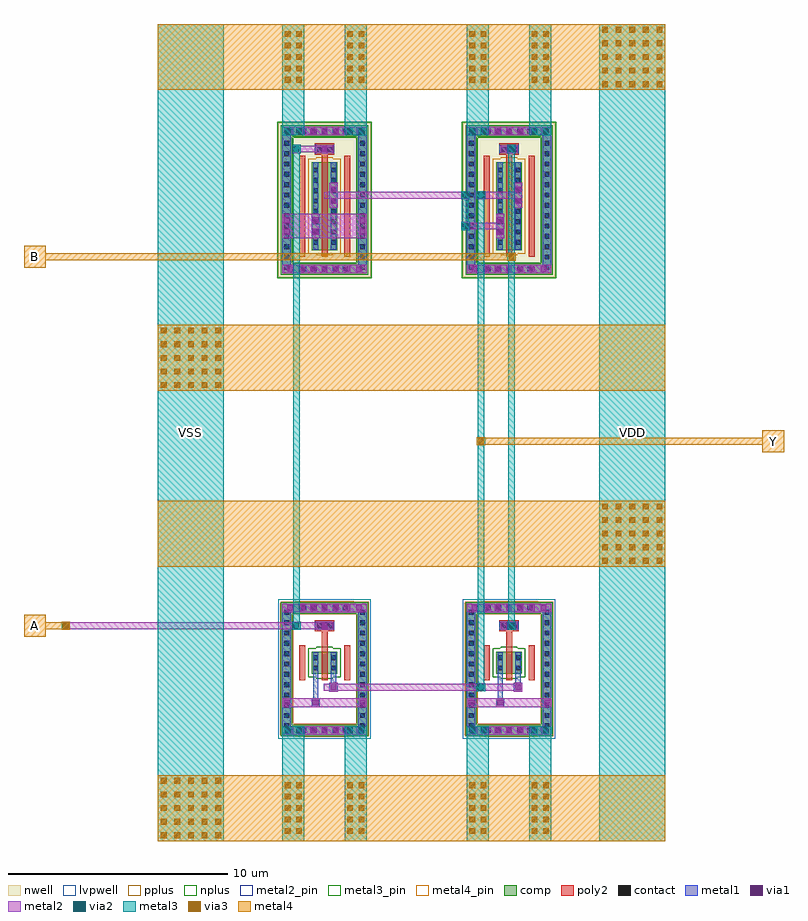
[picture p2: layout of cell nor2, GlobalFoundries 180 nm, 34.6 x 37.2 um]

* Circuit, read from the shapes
.subckt nor2 A B VDD VSS Y
XM1 Y A VSS VSS nfet_03v3 w=1u l=0.28u
XM2 Y B VSS VSS nfet_03v3 w=1u l=0.28u
XM3 nor2_MP1_2/n1 A VDD VDD pfet_03v3 w=4u l=0.28u
XM4 Y B nor2_MP1_2/n1 VDD pfet_03v3 w=4u l=0.28u
.ends

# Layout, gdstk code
import gdstk
lib = gdstk.Library(unit=1e-6, precision=1e-09)
def R(c, l, rs):  # rectangles x0, y0, x1, y1
    for r in rs: c.add(gdstk.rectangle(r[:2], r[2:], *l))
def A(c, l, x, y, w, h, nx, ny, dx, dy):  # array of equal rectangles
    R(c, l, [(x+i*dx, y+j*dy, x+i*dx+w, y+j*dy+h) for i in range(nx) for j in range(ny)])
nwell = (21, 0)
comp = (22, 0)
poly2 = (30, 0)
pplus = (31, 0)
nplus = (32, 0)
contact = (33, 0)
metal1 = (34, 0)
via1 = (35, 0)
metal2 = (36, 0)
metal2_pin = (36, 10)
via2 = (38, 0)
via3 = (40, 0)
metal3 = (42, 0)
metal3_pin = (42, 10)
metal4 = (46, 0)
metal4_pin = (46, 10)
lvpwell = (204, 0)

nor2_mn1 = lib.new_cell('nor2_MN1')
R(nor2_mn1, comp, [(-1.4,-0.82,2.57,-0.3), (-1.4,-0.3,-0.88,4.755), (2.05,-0.3,2.57,4.755), (0,2.01,1.17,3.01), (-1.4,4.755,2.57,5.275)])
R(nor2_mn1, poly2, [(-0.58,1.71,-0.3,3.31), (0.445,1.71,0.725,3.945), (1.47,1.71,1.75,3.31), (0.135,3.945,1.035,4.455)])
R(nor2_mn1, pplus, [(-0.74,-0.85,1.91,-0.84), (-1.42,-0.84,2.59,-0.795), (-1.43,-0.795,2.6,-0.27), (-1.43,-0.27,-0.85,4.725), (2.02,-0.27,2.6,4.725), (-1.43,4.725,2.6,5.25), (-1.42,5.25,2.59,5.295), (-0.74,5.295,1.91,5.305)])
R(nor2_mn1, nplus, [(0.215,1.78,0.955,1.85), (-0.16,1.85,1.33,3.17), (0.215,3.17,0.955,3.24)])
A(nor2_mn1, contact, -0.465, -0.67, 0.22, 0.22, 5, 2, 0.47, 5.575)
A(nor2_mn1, contact, -1.25, -0.47, 0.22, 0.22, 1, 12, 0, 0.47)
A(nor2_mn1, contact, 2.2, -0.47, 0.22, 0.22, 1, 12, 0, 0.47)
R(nor2_mn1, contact, [(0.07,2.165,0.29,2.385), (0.88,2.165,1.1,2.385), (0.07,2.635,0.29,2.855), (0.88,2.635,1.1,2.855), (0.24,4.09,0.46,4.31), (0.71,4.09,0.93,4.31)])
R(nor2_mn1, metal1, [(-1.335,-0.755,2.505,-0.365), (-1.335,-0.365,-0.945,4.82), (2.115,-0.365,2.505,4.82), (-0.01,0.49,0.37,0.91), (0.065,0.91,0.295,3), (0.8,1.19,1.18,1.61), (0.875,1.61,1.105,3), (0.145,4.01,1.025,4.39), (-1.335,4.82,2.505,5.21)])
A(nor2_mn1, via1, -1.105, -0.69, 0.26, 0.26, 7, 2, 0.52, 5.575)
R(nor2_mn1, via1, [(-1.27,0.57,-1.01,0.83), (0.05,0.57,0.31,0.83), (2.18,0.57,2.44,0.83), (0.86,1.27,1.12,1.53), (0.455,4.07,0.715,4.33)])
R(nor2_mn1, metal2, [(-1.335,-0.755,2.505,-0.365), (-1.335,0.49,2.505,0.91), (0.8,1.19,1.18,1.61), (0.2,4.01,0.97,4.39), (-1.335,4.82,2.505,5.21)])
R(nor2_mn1, metal2_pin, [(-1.335,-0.755,2.505,-0.365), (0.8,1.19,1.18,1.61), (0.2,4.01,0.97,4.39)])
R(nor2_mn1, lvpwell, [(-1.52,-0.94,2.69,5.395)])
nor2_mn1.add(gdstk.Label('Y', (0.99,1.4), layer=36, texttype=10))
nor2_mn1.add(gdstk.Label('A', (0.585,4.2), layer=36, texttype=10))
nor2_mn1.add(gdstk.Label('VSS', (0.585,-0.56), layer=36, texttype=10))

nor2_mn2 = lib.new_cell('nor2_MN2')
R(nor2_mn2, comp, [(-1.4,-0.82,2.57,-0.3), (-1.4,-0.3,-0.88,4.755), (2.05,-0.3,2.57,4.755), (0,2.01,1.17,3.01), (-1.4,4.755,2.57,5.275)])
R(nor2_mn2, poly2, [(-0.58,1.71,-0.3,3.31), (0.445,1.71,0.725,3.945), (1.47,1.71,1.75,3.31), (0.135,3.945,1.035,4.455)])
R(nor2_mn2, pplus, [(-0.74,-0.85,1.91,-0.84), (-1.42,-0.84,2.59,-0.795), (-1.43,-0.795,2.6,-0.27), (-1.43,-0.27,-0.85,4.725), (2.02,-0.27,2.6,4.725), (-1.43,4.725,2.6,5.25), (-1.42,5.25,2.59,5.295), (-0.74,5.295,1.91,5.305)])
R(nor2_mn2, nplus, [(0.215,1.78,0.955,1.85), (-0.16,1.85,1.33,3.17), (0.215,3.17,0.955,3.24)])
A(nor2_mn2, contact, -0.465, -0.67, 0.22, 0.22, 5, 2, 0.47, 5.575)
A(nor2_mn2, contact, -1.25, -0.47, 0.22, 0.22, 1, 12, 0, 0.47)
A(nor2_mn2, contact, 2.2, -0.47, 0.22, 0.22, 1, 12, 0, 0.47)
R(nor2_mn2, contact, [(0.07,2.165,0.29,2.385), (0.88,2.165,1.1,2.385), (0.07,2.635,0.29,2.855), (0.88,2.635,1.1,2.855), (0.24,4.09,0.46,4.31), (0.71,4.09,0.93,4.31)])
R(nor2_mn2, metal1, [(-1.335,-0.755,2.505,-0.365), (-1.335,-0.365,-0.945,4.82), (2.115,-0.365,2.505,4.82), (-0.01,0.49,0.37,0.91), (0.065,0.91,0.295,3), (0.8,1.19,1.18,1.61), (0.875,1.61,1.105,3), (0.145,4.01,1.025,4.39), (-1.335,4.82,2.505,5.21)])
A(nor2_mn2, via1, -1.105, -0.69, 0.26, 0.26, 7, 2, 0.52, 5.575)
R(nor2_mn2, via1, [(-1.27,0.57,-1.01,0.83), (0.05,0.57,0.31,0.83), (2.18,0.57,2.44,0.83), (0.86,1.27,1.12,1.53), (0.455,4.07,0.715,4.33)])
R(nor2_mn2, metal2, [(-1.335,-0.755,2.505,-0.365), (-1.335,0.49,2.505,0.91), (0.8,1.19,1.18,1.61), (0.2,4.01,0.97,4.39), (-1.335,4.82,2.505,5.21)])
R(nor2_mn2, metal2_pin, [(-1.335,-0.755,2.505,-0.365), (0.8,1.19,1.18,1.61), (0.2,4.01,0.97,4.39)])
R(nor2_mn2, lvpwell, [(-1.52,-0.94,2.69,5.395)])
nor2_mn2.add(gdstk.Label('Y', (0.99,1.4), layer=36, texttype=10))
nor2_mn2.add(gdstk.Label('B', (0.585,4.2), layer=36, texttype=10))
nor2_mn2.add(gdstk.Label('VSS', (0.585,-0.56), layer=36, texttype=10))

nor2_mp1 = lib.new_cell('nor2_MP1')
R(nor2_mp1, nwell, [(-1.52,-0.94,2.69,6.095)])
R(nor2_mp1, comp, [(-1.4,-0.82,2.57,-0.3), (-1.4,-0.3,-0.88,5.455), (2.05,-0.3,2.57,5.455), (0,0.3,1.17,4.3), (-1.4,5.455,2.57,5.975)])
R(nor2_mp1, poly2, [(-0.58,0,-0.3,4.6), (0.445,0,0.725,4.645), (1.47,0,1.75,4.6), (0.135,4.645,1.035,5.155)])
R(nor2_mp1, pplus, [(0.215,0.07,0.955,0.14), (-0.16,0.14,1.33,4.46), (0.215,4.46,0.955,4.53)])
R(nor2_mp1, nplus, [(-1.56,-0.98,2.73,-0.27), (-1.56,-0.27,-0.85,5.425), (2.02,-0.27,2.73,5.425), (-1.56,5.425,2.73,6.135)])
A(nor2_mp1, contact, -0.465, -0.67, 0.22, 0.22, 5, 2, 0.47, 6.275)
A(nor2_mp1, contact, -1.25, -0.59, 0.22, 0.22, 1, 14, 0, 0.47)
A(nor2_mp1, contact, 2.2, -0.59, 0.22, 0.22, 1, 14, 0, 0.47)
A(nor2_mp1, contact, 0.07, 0.545, 0.22, 0.22, 1, 8, 0, 0.47)
A(nor2_mp1, contact, 0.88, 0.545, 0.22, 0.22, 1, 8, 0, 0.47)
R(nor2_mp1, contact, [(0.24,4.79,0.46,5.01), (0.71,4.79,0.93,5.01)])
R(nor2_mp1, metal1, [(-1.335,-0.755,2.505,-0.365), (-1.335,-0.365,-0.945,5.52), (2.115,-0.365,2.505,5.52), (0.065,0.31,0.295,0.84), (0.875,0.31,1.105,2.24), (-0.01,0.84,0.37,1.96), (0.065,1.96,0.295,4.29), (0.8,2.24,1.18,3.36), (0.875,3.36,1.105,4.29), (0.145,4.71,1.025,5.09), (-1.335,5.52,2.505,5.91)])
A(nor2_mp1, via1, -1.105, -0.69, 0.26, 0.26, 7, 2, 0.52, 6.275)
R(nor2_mp1, via1, [(-1.27,1.01,-1.01,1.27), (0.05,1.01,0.31,1.27), (2.18,1.01,2.44,1.27), (-1.27,1.53,-1.01,1.79), (0.05,1.53,0.31,1.79), (2.18,1.53,2.44,1.79), (0.86,2.41,1.12,2.67), (0.86,2.93,1.12,3.19), (0.455,4.77,0.715,5.03)])
R(nor2_mp1, metal2, [(-1.335,-0.755,2.505,-0.365), (-1.335,0.84,2.505,1.96), (0.8,2.24,1.18,3.36), (0.2,4.71,0.97,5.09), (-1.335,5.52,2.505,5.91)])
R(nor2_mp1, metal2_pin, [(-1.335,-0.755,2.505,-0.365), (0.8,2.24,1.18,3.36), (0.2,4.71,0.97,5.09)])
nor2_mp1.add(gdstk.Label('n1', (0.99,2.8), layer=36, texttype=10))
nor2_mp1.add(gdstk.Label('A', (0.585,4.9), layer=36, texttype=10))
nor2_mp1.add(gdstk.Label('VDD', (0.585,-0.56), layer=36, texttype=10))

nor2_mp2 = lib.new_cell('nor2_MP2')
R(nor2_mp2, nwell, [(-1.52,-0.94,2.69,6.095)])
R(nor2_mp2, comp, [(-1.4,-0.82,2.57,-0.3), (-1.4,-0.3,-0.88,5.455), (2.05,-0.3,2.57,5.455), (0,0.3,1.17,4.3), (-1.4,5.455,2.57,5.975)])
R(nor2_mp2, poly2, [(-0.58,0,-0.3,4.6), (0.445,0,0.725,4.645), (1.47,0,1.75,4.6), (0.135,4.645,1.035,5.155)])
R(nor2_mp2, pplus, [(0.215,0.07,0.955,0.14), (-0.16,0.14,1.33,4.46), (0.215,4.46,0.955,4.53)])
R(nor2_mp2, nplus, [(-1.56,-0.98,2.73,-0.27), (-1.56,-0.27,-0.85,5.425), (2.02,-0.27,2.73,5.425), (-1.56,5.425,2.73,6.135)])
A(nor2_mp2, contact, -0.465, -0.67, 0.22, 0.22, 5, 2, 0.47, 6.275)
A(nor2_mp2, contact, -1.25, -0.59, 0.22, 0.22, 1, 14, 0, 0.47)
A(nor2_mp2, contact, 2.2, -0.59, 0.22, 0.22, 1, 14, 0, 0.47)
A(nor2_mp2, contact, 0.07, 0.545, 0.22, 0.22, 1, 8, 0, 0.47)
A(nor2_mp2, contact, 0.88, 0.545, 0.22, 0.22, 1, 8, 0, 0.47)
R(nor2_mp2, contact, [(0.24,4.79,0.46,5.01), (0.71,4.79,0.93,5.01)])
R(nor2_mp2, metal1, [(-1.335,-0.755,2.505,-0.365), (-1.335,-0.365,-0.945,5.52), (2.115,-0.365,2.505,5.52), (0.065,0.31,0.295,0.84), (0.875,0.31,1.105,2.24), (-0.01,0.84,0.37,1.96), (0.065,1.96,0.295,4.29), (0.8,2.24,1.18,3.36), (0.875,3.36,1.105,4.29), (0.145,4.71,1.025,5.09), (-1.335,5.52,2.505,5.91)])
A(nor2_mp2, via1, -1.105, -0.69, 0.26, 0.26, 7, 2, 0.52, 6.275)
R(nor2_mp2, via1, [(0.05,1.01,0.31,1.27), (0.05,1.53,0.31,1.79), (0.86,2.41,1.12,2.67), (0.86,2.93,1.12,3.19), (0.455,4.77,0.715,5.03)])
R(nor2_mp2, metal2, [(-1.335,-0.755,2.505,-0.365), (-0.01,0.84,0.37,1.96), (0.8,2.24,1.18,3.36), (0.2,4.71,0.97,5.09), (-1.335,5.52,2.505,5.91)])
R(nor2_mp2, metal2_pin, [(-1.335,-0.755,2.505,-0.365), (-0.01,0.84,0.37,1.96), (0.8,2.24,1.18,3.36), (0.2,4.71,0.97,5.09)])
nor2_mp2.add(gdstk.Label('n1', (0.18,1.4), layer=36, texttype=10))
nor2_mp2.add(gdstk.Label('Y', (0.99,2.8), layer=36, texttype=10))
nor2_mp2.add(gdstk.Label('B', (0.585,4.9), layer=36, texttype=10))
nor2_mp2.add(gdstk.Label('VDD', (0.585,-0.56), layer=36, texttype=10))

nor2 = lib.new_cell('nor2')
R(nor2, metal2, [(5.665,4.845,6.665,5.235), (8.505,4.845,9.505,5.235), (14.065,4.845,15.065,5.235), (16.905,4.845,17.905,5.235), (14.51,6.81,14.89,6.85), (7.55,6.85,16.25,7.15), (14.51,7.15,14.89,7.19), (-4.39,9.61,-4.01,9.65), (6.11,9.61,6.49,9.65), (15.91,9.61,16.29,9.99), (-4.39,9.65,7.85,9.95), (-4.39,9.95,-4.01,9.99), (6.11,9.95,6.49,9.99), (13.81,27.81,14.19,27.85), (13.81,27.85,15.55,28.15), (13.81,28.15,14.19,28.19), (13.81,29.21,14.19,29.25), (14.51,29.21,14.89,29.25), (7.55,29.25,14.19,29.55), (14.51,29.25,16.25,29.55), (13.81,29.55,14.19,29.59), (14.51,29.55,14.89,29.59), (6.11,31.31,6.49,31.35), (15.91,31.31,16.29,31.69), (6.11,31.35,7.85,31.65), (6.11,31.65,6.49,31.69), (5.665,32.12,6.665,32.51), (8.505,32.12,9.505,32.51), (14.065,32.12,15.065,32.51), (16.905,32.12,17.905,32.51)])
R(nor2, via2, [(5.775,4.91,6.035,5.17), (6.295,4.91,6.555,5.17), (8.615,4.91,8.875,5.17), (9.135,4.91,9.395,5.17), (14.175,4.91,14.435,5.17), (14.695,4.91,14.955,5.17), (17.015,4.91,17.275,5.17), (17.535,4.91,17.795,5.17), (14.57,6.87,14.83,7.13), (-4.33,9.67,-4.07,9.93), (6.17,9.67,6.43,9.93), (15.97,9.67,16.23,9.93), (13.87,27.87,14.13,28.13), (13.87,29.27,14.13,29.53), (14.57,29.27,14.83,29.53), (6.17,31.37,6.43,31.63), (15.97,31.37,16.23,31.63), (5.775,32.185,6.035,32.445), (6.295,32.185,6.555,32.445), (8.615,32.185,8.875,32.445), (9.135,32.185,9.395,32.445), (14.175,32.185,14.435,32.445), (14.695,32.185,14.955,32.445), (17.015,32.185,17.275,32.445), (17.535,32.185,17.795,32.445)])
A(nor2, via3, 0.13, 0.13, 0.26, 0.26, 5, 5, 0.62, 0.62)
A(nor2, via3, 5.775, 0.33, 0.26, 0.26, 1, 5, 0, 0.52)
A(nor2, via3, 6.295, 0.33, 0.26, 0.26, 1, 5, 0, 0.52)
A(nor2, via3, 8.615, 0.33, 0.26, 0.26, 1, 5, 0, 0.52)
A(nor2, via3, 9.135, 0.33, 0.26, 0.26, 1, 5, 0, 0.52)
A(nor2, via3, 14.175, 0.33, 0.26, 0.26, 1, 5, 0, 0.52)
A(nor2, via3, 14.695, 0.33, 0.26, 0.26, 1, 5, 0, 0.52)
A(nor2, via3, 17.015, 0.33, 0.26, 0.26, 1, 5, 0, 0.52)
A(nor2, via3, 17.535, 0.33, 0.26, 0.26, 1, 5, 0, 0.52)
A(nor2, via3, 20.22, 12.625, 0.26, 0.26, 5, 5, 0.62, 0.62)
A(nor2, via3, 0.13, 20.625, 0.26, 0.26, 5, 5, 0.62, 0.62)
A(nor2, via3, 20.22, 34.325, 0.26, 0.26, 5, 5, 0.62, 0.62)
A(nor2, via3, 5.775, 34.525, 0.26, 0.26, 1, 5, 0, 0.52)
A(nor2, via3, 6.295, 34.525, 0.26, 0.26, 1, 5, 0, 0.52)
A(nor2, via3, 8.615, 34.525, 0.26, 0.26, 1, 5, 0, 0.52)
A(nor2, via3, 9.135, 34.525, 0.26, 0.26, 1, 5, 0, 0.52)
A(nor2, via3, 14.175, 34.525, 0.26, 0.26, 1, 5, 0, 0.52)
A(nor2, via3, 14.695, 34.525, 0.26, 0.26, 1, 5, 0, 0.52)
A(nor2, via3, 17.015, 34.525, 0.26, 0.26, 1, 5, 0, 0.52)
A(nor2, via3, 17.535, 34.525, 0.26, 0.26, 1, 5, 0, 0.52)
R(nor2, via3, [(-4.33,9.67,-4.07,9.93), (14.57,18.07,14.83,18.33), (15.97,26.47,16.23,26.73)])
A(nor2, metal3, 14.51, 6.81, 0.38, 0.38, 1, 3, 0, 11.2)
R(nor2, metal3, [(0,0,3,37.195), (5.665,0,6.665,5.235), (8.505,0,9.505,5.235), (14.065,0,15.065,5.235), (16.905,0,17.905,5.235), (20.09,0,23.09,37.195), (14.55,7.19,14.85,18.01), (-4.39,9.61,-4.01,9.99), (6.11,9.61,6.49,9.99), (15.91,9.61,16.29,9.99), (6.15,9.99,6.45,31.31), (15.95,9.99,16.25,26.41), (14.55,18.39,14.85,29.21), (15.91,26.41,16.29,26.79), (15.95,26.79,16.25,31.31), (13.81,27.81,14.19,28.19), (13.85,28.19,14.15,29.21), (13.81,29.21,14.19,29.59), (6.11,31.31,6.49,31.69), (15.91,31.31,16.29,31.69), (5.665,32.12,6.665,37.195), (8.505,32.12,9.505,37.195), (14.065,32.12,15.065,37.195), (16.905,32.12,17.905,37.195)])
R(nor2, metal3_pin, [(0,0,3,37.195), (20.09,0,23.09,37.195)])
R(nor2, metal4, [(0,0,23.09,3), (-6.1,9.3,-5.1,9.65), (-4.39,9.61,-4.01,9.65), (-6.1,9.65,-4.01,9.95), (-6.1,9.95,-5.1,10.3), (-4.39,9.95,-4.01,9.99), (0,12.495,23.09,15.495), (27.5,17.7,28.5,18.05), (14.51,18.01,14.89,18.05), (14.51,18.05,28.5,18.35), (14.51,18.35,14.89,18.39), (27.5,18.35,28.5,18.7), (0,20.495,23.09,23.495), (-6.1,26.1,-5.1,26.45), (15.91,26.41,16.29,26.45), (-6.1,26.45,16.29,26.75), (-6.1,26.75,-5.1,27.1), (15.91,26.75,16.29,26.79), (0,34.195,23.09,37.195)])
R(nor2, metal4_pin, [(-6.1,9.3,-5.1,10.3), (27.5,17.7,28.5,18.7), (-6.1,26.1,-5.1,27.1)])
nor2.add(gdstk.Reference(nor2_mn1, (7,5.6)))
nor2.add(gdstk.Reference(nor2_mn2, (15.4,5.6)))
nor2.add(gdstk.Reference(nor2_mp1, (7,26.6)))
nor2.add(gdstk.Reference(nor2_mp2, (15.4,26.6)))
nor2.add(gdstk.Label('VSS', (1.5,18.597), layer=42, texttype=10))
nor2.add(gdstk.Label('VDD', (21.59,18.597), layer=42, texttype=10))
nor2.add(gdstk.Label('A', (-5.6,9.8), layer=46, texttype=10))
nor2.add(gdstk.Label('B', (-5.6,26.6), layer=46, texttype=10))
nor2.add(gdstk.Label('Y', (28,18.2), layer=46, texttype=10))

lib.write_gds('nor2.gds')
